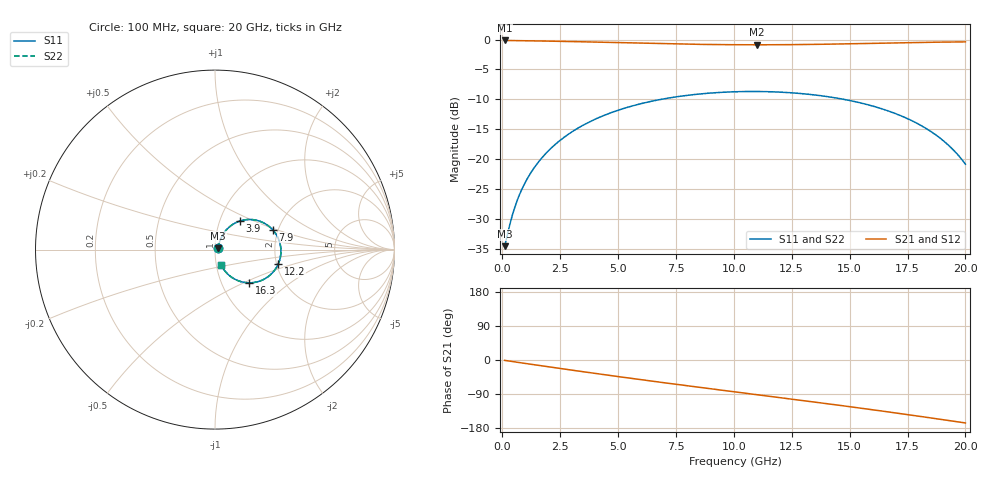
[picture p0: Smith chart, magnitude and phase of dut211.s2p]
! Touchstone file exported from HFSS 2026.1.0
!  File:  C:/ffzhzh/LocalFiles/Ansys_Project_Files/temp_train_TSV_RDL_211_1783061666_46780.aedt
!  Generated:  03:04:14 PM Jul  3, 2026
!  Design:  TSV_RDL
!  Project:  temp_train_TSV_RDL_211_1783061666_46780
! Variables:
!  h_bsmrdl = 2.14um
!  h_ox = 20um
!  h_rdl = 5um
!  h_sub = 63.74um
!  h_tmrdl = 3.31um
!  h_tsv = 63.74um
!  h_via = 3um
!  l_bsmrdl = 516.01um
!  l_sub = 2639.38um
!  l_tmrdl = 139.53um
!  m_sub = 200um
!  pitch = 40.34um
!  r_tsv = 14.43um
!  s_tmrdl = 10um
!  w_bsmrdl = 17.98um
!  w_sub = 500um
!  w_tmrdl = 26.43um
!  x_tsv_center1 = 152.745um
!  x_tsv_center2 = 686.735um
!  x_tsv_center3 = 852.695um
!  x_tsv_center4 = 1386.685um
!  x_tsv_center5 = 1552.645um
!  x_tsv_center6 = 2086.635um
# GHz S MA R 50.000000
! Terminal data exported
! Port[1] = TM_RDL1_1_T1
! Port[2] = TM_RDL5_1_T1
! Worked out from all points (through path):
!   200 points, 100 MHz to 20 GHz, reference 50 ohm
!   highest |S21| = -0.15 dB at 100 MHz (marker M1); lowest = -0.9 dB at 11 GHz (marker M2)
!   group delay of S21, straight-line fit = 22.6 ps
!   lowest |S11| = -34.6 dB at 100 MHz (marker M3), VSWR 1.04, Z = 51.8 + j0.677 ohm
!   |S11| at or under -10 dB: start of sweep to 6.875 GHz; 14.74 GHz to end of sweep
!   |S22| runs from -34.6 to -8.7 dB; largest |S21 - S12| = 1e-13
!   S11 on the Smith chart (normalised r, x): 100 MHz: 1.04, +0.01; 3.9 GHz: 1.24, +0.41; 7.9 GHz: 1.87, +0.47; 12.2 GHz: 2.04, -0.38; 16.3 GHz: 1.35, -0.54; 20 GHz: 1.05, -0.18
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0.1  0.01865 20.5  0.9826 -1.0  0.9826 -1.0  0.01865 20.5
! Gamma 0 0 0 0
! Port Impedance 50 0 50 0
0.4  0.03211 50.0  0.9807 -3.7  0.9807 -3.7  0.03211 50.0
0.6  0.04266 56.5  0.9793 -5.6  0.9793 -5.6  0.04266 56.5
0.9  0.05877 60.8  0.9774 -8.2  0.9774 -8.2  0.05877 60.8
1.3  0.08036 62.3  0.975 -11.8  0.975 -11.8  0.08036 62.3
2.2  0.1281 59.9  0.9687 -19.7  0.9687 -19.7  0.1281 59.9
3.5  0.1923 51.9  0.9573 -31.0  0.9573 -31.0  0.1923 51.9
3.9  0.2105 49.1  0.9534 -34.5  0.9534 -34.5  0.2105 49.1
5.2  0.2635 39.5  0.94 -45.4  0.94 -45.4  0.2635 39.5
6.8  0.3143 27.4  0.9243 -58.5  0.9243 -58.5  0.3143 27.4
7.9  0.3395 19.1  0.9154 -67.3  0.9154 -67.3  0.3395 19.1
10.1  0.3659 2.7  0.9049 -84.5  0.9049 -84.5  0.3659 2.7
11  0.3675 -4.0  0.9039 -91.5  0.9039 -91.5  0.3675 -4.0
12.2  0.3613 -12.9  0.9056 -100.8  0.9056 -100.8  0.3613 -12.9
13.4  0.3454 -21.9  0.9105 -110.3  0.9105 -110.3  0.3454 -21.9
14.9  0.3118 -33.3  0.9204 -122.3  0.9204 -122.3  0.3118 -33.3
16.3  0.2667 -44.0  0.9318 -133.9  0.9318 -133.9  0.2667 -44.0
16.7  0.2514 -47.0  0.9352 -137.3  0.9352 -137.3  0.2514 -47.0
17.7  0.2088 -54.6  0.9433 -145.8  0.9433 -145.8  0.2087 -54.6
18.6  0.1654 -61.0  0.9496 -153.7  0.9496 -153.7  0.1654 -61.0
19.4  0.1235 -65.9  0.954 -160.7  0.954 -160.7  0.1235 -65.9
20  0.09056 -68.2  0.9562 -166.1  0.9562 -166.1  0.09056 -68.2
